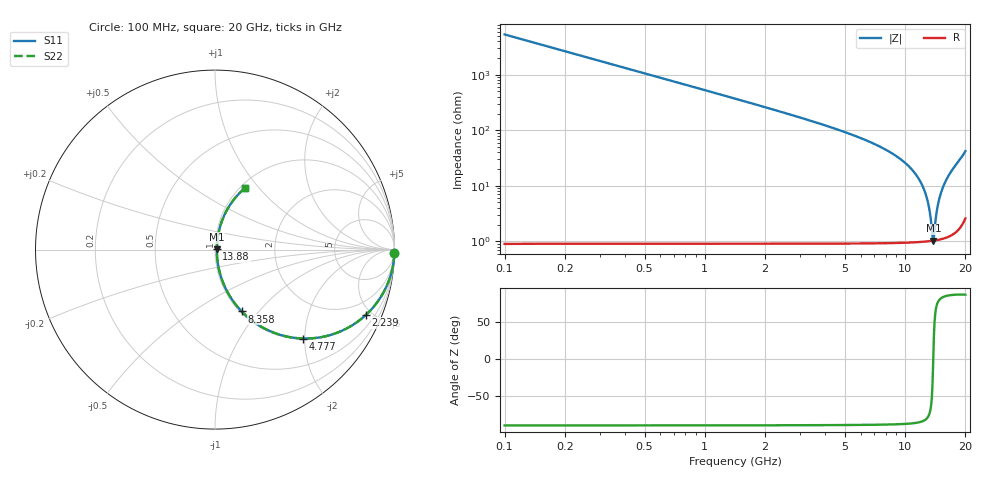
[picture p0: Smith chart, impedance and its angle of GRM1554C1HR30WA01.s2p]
!Murata Part Number: GRM1554C1HR30WA01
!These Parameters are Measured in Series Mode Connection
!Data Generated on Mar 30, 2021
!  o--ll--o
!Port1  Port2
!  o------o
!Operation Temp=25[degC], DC Bias Voltage=0[V]
!Freq. Start=100[MHz] Stop=20[GHz] 401[Steps]
# Hz S RI R 50
!Freq.(Hz) S11(Real) S11(Imag) S21(Real) S21(Imag) S12(Real) S12(Imag) S22(Real) S22(Imag)
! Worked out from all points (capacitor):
!   401 points, 100 MHz to 20 GHz, reference 50 ohm
!   read as one part in series: C = 300 fF near 199.5 MHz
!   lowest |Z| = 1.03 ohm at 13.83 GHz (marker M1)
!   series resonance near 13.82 GHz, so ESL is about 440 pH
!   S11 on the Smith chart (normalised r, x): 100 MHz: open; 2.239 GHz: 1.02, -4.62; 4.777 GHz: 1.02, -1.96; 8.358 GHz: 1.02, -0.82; 13.88 GHz: 1.02, +0.01; 20 GHz: 1.05, +0.84
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1e8  0.9996 -0.0188  0.000358 0.0188  0.000358 0.0188  0.9996 -0.0188
3.985e8  0.9943 -0.0747  0.00567 0.0747  0.00567 0.0747  0.9943 -0.0747
7.4675e8  0.9803 -0.1383  0.0197 0.1383  0.0197 0.1383  0.9803 -0.1383
1.34375e9  0.9382 -0.2397  0.0618 0.2397  0.0618 0.2397  0.9382 -0.2397
2.23925e9  0.8411 -0.3636  0.1589 0.3636  0.1589 0.3636  0.8411 -0.3636
3.43325e9  0.6776 -0.4643  0.3224 0.4643  0.3224 0.4643  0.6776 -0.4643
4.7765e9  0.4912 -0.4953  0.5088 0.4953  0.5088 0.4953  0.4912 -0.4953
6.7665e9  0.269 -0.4359  0.731 0.4359  0.731 0.4359  0.269 -0.4359
8.3585e9  0.1488 -0.3447  0.8512 0.3447  0.8512 0.3447  0.1488 -0.3447
1.005e10  0.0687 -0.235  0.9313 0.235  0.9313 0.235  0.0687 -0.235
1.129375e10  0.0341 -0.1542  0.9659 0.1542  0.9659 0.1542  0.0341 -0.1542
1.2239e10  0.0188 -0.0946  0.9812 0.0946  0.9812 0.0946  0.0188 -0.0946
1.29355e10  0.0126 -0.0521  0.9874 0.0521  0.9874 0.0521  0.0126 -0.0521
1.338325e10  0.0107 -0.0255  0.9893 0.0255  0.9893 0.0255  0.0107 -0.0255
1.37315e10  0.0102 -0.00516  0.9898 0.00516  0.9898 0.00516  0.0102 -0.00516
1.3831e10  0.0102 0.000589  0.9898 -0.000589  0.9898 -0.000589  0.0102 0.000589
1.388075e10  0.0102 0.00345  0.9898 -0.00345  0.9898 -0.00345  0.0102 0.00345
1.43285e10  0.0112 0.0289  0.9888 -0.0289  0.9888 -0.0289  0.0112 0.0289
1.4826e10  0.0139 0.0566  0.9861 -0.0566  0.9861 -0.0566  0.0139 0.0566
1.5622e10  0.0213 0.0997  0.9787 -0.0997  0.9787 -0.0997  0.0213 0.0997
1.67165e10  0.0378 0.157  0.9622 -0.157  0.9622 -0.157  0.0378 0.157
2e10  0.1651 0.3417  0.8349 -0.3417  0.8349 -0.3417  0.1651 0.3417
